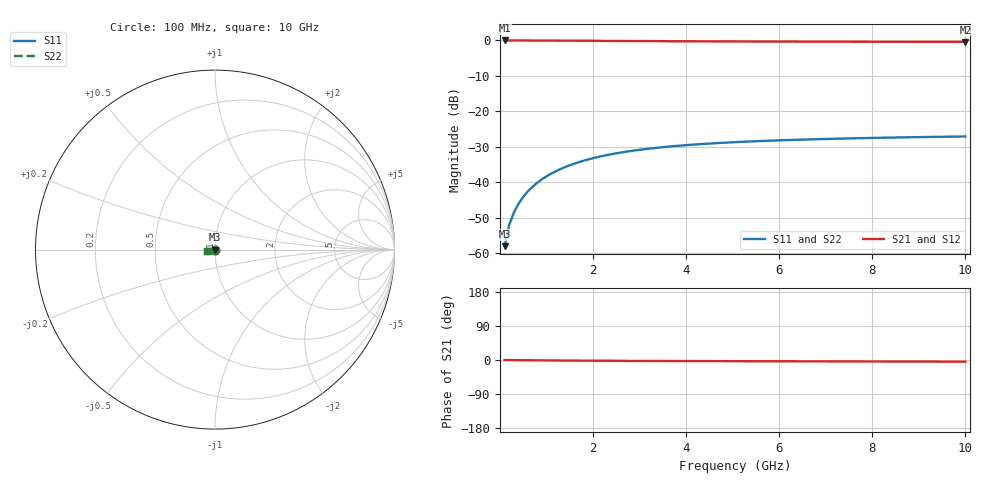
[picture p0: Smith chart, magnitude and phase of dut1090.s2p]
! Touchstone file exported from HFSS 2024.1.0
!  File:  C:/UserFiles/LocalFiles/RDL_TSV_Batchsim/temp_TSV1_1090_1780066267.aedt
!  Generated:  10:57:25 PM May 29, 2026
!  Design:  TSV1
!  Project:  temp_TSV1_1090_1780066267
!  Setup:  Setup1
!  Solution:  Sweep
! Variables:
!  dtsv = 12.37um
!  hbump = 3um
!  htsv = 66.73um
!  lrdl = 252.1521522um
!  p = 40
!  p1 = 50.81um
!  t = 500um
!  trdl = 3um
!  wrdl = 24.89489489um
# GHz S MA R 50.000000
! Terminal data exported
! Port[1] = TSV22_T1
! Port[2] = TSV22_T2
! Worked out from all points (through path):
!   100 points, 100 MHz to 10 GHz, reference 50 ohm
!   highest |S21| = 0.00 dB at 100 MHz (marker M1); lowest = -0.4 dB at 10 GHz (marker M2)
!   lowest |S11| = -58.1 dB at 100 MHz (marker M3), VSWR 1.00, Z = 50 - j0.125 ohm
!   |S11| at or under -10 dB: start of sweep to end of sweep
!   |S22| runs from -58.1 to -27.1 dB; largest |S21 - S12| = 1.1e-14
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0.1  0.00125 -87.9  0.9999 -0.1  0.9999 -0.1  0.00125 -87.9
! Gamma 0 0 0 0
! Port Impedance 50 0 50 0
0.2  0.002496 -91.4  0.9997 -0.2  0.9997 -0.2  0.002496 -91.4
0.3  0.003742 -93.7  0.9995 -0.3  0.9995 -0.3  0.003742 -93.7
0.4  0.004982 -95.8  0.9993 -0.5  0.9993 -0.5  0.004982 -95.8
0.5  0.006212 -97.7  0.9989 -0.6  0.9989 -0.6  0.006212 -97.7
0.6  0.007429 -99.5  0.9985 -0.7  0.9985 -0.7  0.007429 -99.5
0.7  0.008627 -101.4  0.998 -0.8  0.998 -0.8  0.008627 -101.4
0.8  0.009806 -103.1  0.9975 -0.9  0.9975 -0.9  0.009806 -103.1
0.9  0.01096 -104.9  0.9969 -1.0  0.9969 -1.0  0.01096 -104.9
1.1  0.0132 -108.3  0.9956 -1.2  0.9956 -1.2  0.0132 -108.3
1.4  0.01634 -113.1  0.9933 -1.4  0.9933 -1.4  0.01634 -113.1
1.6  0.01828 -116.1  0.9917 -1.6  0.9917 -1.6  0.01828 -116.1
1.8  0.0201 -119.0  0.99 -1.7  0.99 -1.7  0.0201 -119.0
2.1  0.02261 -123.0  0.9875 -1.9  0.9875 -1.9  0.02261 -123.0
2.5  0.02554 -128.0  0.9841 -2.2  0.9841 -2.2  0.02554 -128.0
2.9  0.02806 -132.5  0.9809 -2.4  0.9809 -2.4  0.02806 -132.5
3.4  0.03071 -137.4  0.9773 -2.6  0.9773 -2.6  0.03071 -137.4
4.2  0.03404 -144.2  0.9723 -2.9  0.9723 -2.9  0.03404 -144.2
5.1  0.03683 -150.5  0.9678 -3.1  0.9678 -3.1  0.03683 -150.5
6.7  0.04023 -159.3  0.962 -3.6  0.962 -3.6  0.04023 -159.3
8.4  0.04259 -166.5  0.9579 -4.0  0.9579 -4.0  0.04259 -166.5
10  0.04418 -172.1  0.9553 -4.4  0.9553 -4.4  0.04418 -172.1
